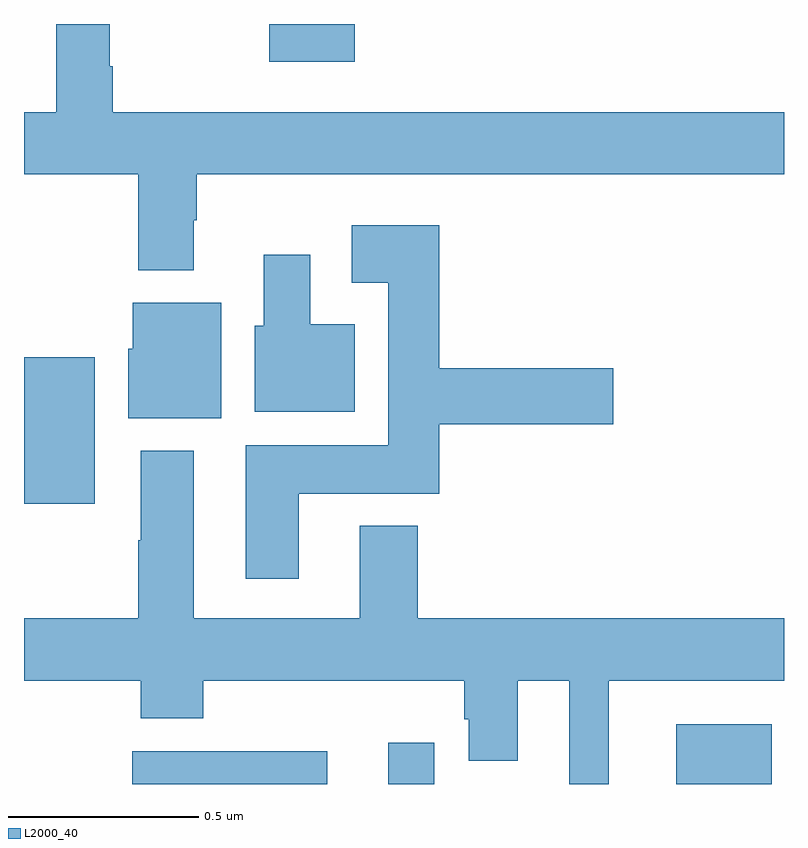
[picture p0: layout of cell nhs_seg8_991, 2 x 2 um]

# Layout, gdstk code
import gdstk
lib = gdstk.Library(unit=1e-6, precision=1e-09)
def R(c, l, rs):  # rectangles x0, y0, x1, y1
    for r in rs: c.add(gdstk.rectangle(r[:2], r[2:], *l))
def P(c, l, *ps):  # polygons
    for p in ps: c.add(gdstk.Polygon(p, *l))
L2000_40 = (2000, 40)

nhs_seg8_991 = lib.new_cell('nhs_seg8_991')
R(nhs_seg8_991, L2000_40, [(124.285,1110.9,124.798,1110.986), (124.958,1110.9,125.08,1111.009), (125.717,1110.9,125.968,1111.057), (124,1111.637,124.186,1112.023), (124.646,1112.801,124.871,1112.9)])
P(nhs_seg8_991, L2000_40, [(124.447,1112.384),(124.455,1112.384),(124.455,1112.504),(126,1112.504),(126,1112.668),(124.233,1112.668),(124.233,1112.789),(124.225,1112.789),(124.225,1112.9),(124.085,1112.9),(124.085,1112.668),(124,1112.668),(124,1112.504),(124.3,1112.504),(124.3,1112.252),(124.447,1112.252)],
  [(124.723,1111.664),(125.093,1111.664),(125.093,1111.847),(125.551,1111.847),(125.551,1111.994),(125.093,1111.994),(125.093,1112.371),(124.863,1112.371),(124.863,1112.219),(124.958,1112.219),(124.958,1111.792),(124.583,1111.792),(124.583,1111.44),(124.723,1111.44)],
  [(124.87,1112.11),(124.753,1112.11),(124.753,1112.293),(124.631,1112.293),(124.631,1112.106),(124.607,1112.106),(124.607,1111.88),(124.87,1111.88)],
  [(124.519,1112.167),(124.286,1112.167),(124.286,1112.046),(124.274,1112.046),(124.274,1111.862),(124.519,1111.862)],
  [(125.539,1111.172),(126,1111.172),(126,1111.336),(125.036,1111.336),(125.036,1111.579),(124.883,1111.579),(124.883,1111.336),(124.447,1111.336),(124.447,1111.777),(124.307,1111.777),(124.307,1111.541),(124.3,1111.541),(124.3,1111.336),(124,1111.336),(124,1111.172),(124.307,1111.172),(124.307,1111.073),(124.472,1111.073),(124.472,1111.172),(125.159,1111.172),(125.159,1111.071),(125.171,1111.071),(125.171,1110.961),(125.299,1110.961),(125.299,1111.172),(125.435,1111.172),(125.435,1110.9),(125.539,1110.9)])

lib.write_gds('nhs_seg8_991.gds')
